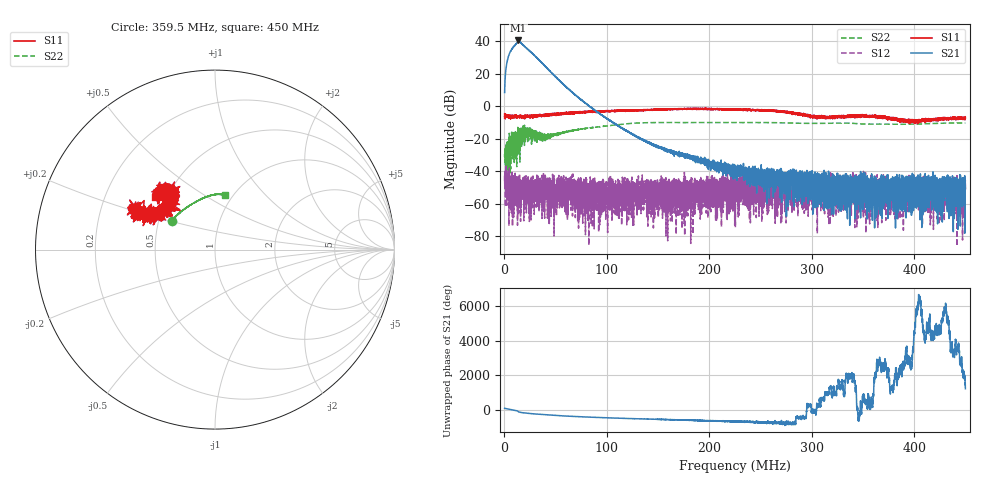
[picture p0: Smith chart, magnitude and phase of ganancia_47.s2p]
# Hz S DB R 50
! CMT, M5065, 19127446, 24.2.4/2
! Date: 12/3/2024 4:24:30 PM
! Data: Format (Calibration Info)
! Freq	S11:dB/Ang(F2)	S21:dB/Ang(F2)	S12:dB/Ang(F2)	S22:dB/Ang(F2)
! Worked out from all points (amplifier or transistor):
!   9000 points, 300 kHz to 450 MHz, reference 50 ohm
!   highest |S21| = 40.6 dB at 13.79 MHz (marker M1)
!   |S21| within 3 dB of that: 10.37 MHz to 18.67 MHz (8.306 MHz wide, 57.2 % of centre)
!   unconditionally stable (mu >= 1): start of sweep to 4.894 MHz; 4.898 MHz to 10.54 MHz; 21.14 MHz to end of sweep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
!   at 75.26 MHz: K = 45.78, MAG = 6.8 dB, |S12| = -48.9 dB
!   at 225.2 MHz: K = 5930.72, MAG = -38.6 dB, |S12| = -47.5 dB
!   at 450 MHz: K = 50061.46, MAG = -49.3 dB, |S12| = -52.0 dB
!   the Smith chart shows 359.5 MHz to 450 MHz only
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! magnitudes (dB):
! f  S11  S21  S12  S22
! 300 kHz  -7.0  8.6  -42.6  -31.0
! 2.949 MHz  -5.5  28.2  -51.3  -29.0
! 4.698 MHz  -6.0  32.0  -45.3  -22.5
! 13.79 MHz  -6.6  40.6  -45.6  -18.2
! 20.44 MHz  -6.6  36.6  -49.7  -18.7
! 39.03 MHz  -4.7  25.3  -49.7  -18.6
! 75.26 MHz  -3.3  3.9  -48.9  -13.8
! 131.8 MHz  -2.2  -19.3  -57.5  -10.2
! 139 MHz  -2.0  -21.6  -59.9  -10.0
! 143.9 MHz  -2.2  -23.1  -59.9  -10.0
! 150.2 MHz  -2.0  -24.8  -52.5  -9.9
! 225.2 MHz  -2.1  -43.2  -47.5  -9.9
! 261.7 MHz  -2.9  -42.4  -54.7  -10.0
! 300.1 MHz  -6.4  -49.7  -50.9  -10.4
! 359.1 MHz  -6.0  -47.0  -42.5  -10.9
! 363.1 MHz  -5.7  -52.7  -49.6  -10.9
! 366.4 MHz  -6.5  -45.2  -48.4  -10.9
! 375.1 MHz  -7.2  -53.0  -48.9  -10.9
! 403.5 MHz  -8.4  -46.8  -53.1  -10.8
! 407.7 MHz  -8.6  -48.9  -47.9  -10.8
! 412.1 MHz  -9.4  -62.2  -51.8  -10.6
! 450 MHz  -7.3  -50.7  -52.0  -10.2
